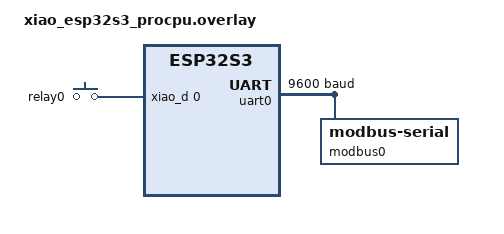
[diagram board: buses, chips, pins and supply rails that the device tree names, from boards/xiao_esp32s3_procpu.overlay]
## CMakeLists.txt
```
# SPDX-License-Identifier: Apache-2.0

cmake_minimum_required(VERSION 3.20.0)

set(SHIELD seeed_b2b_sx1262)

find_package(Zephyr REQUIRED HINTS $ENV{ZEPHYR_BASE})
project(lora_relay)

FILE(GLOB app_sources src/*.c)
FILE(GLOB common_sources ../common/src/*.c)
FILE(GLOB common_board_sources ../common/src/esp32s3/*.c)
target_sources(app PRIVATE ${app_sources} ${common_sources} ${common_board_sources})
target_include_directories(app PRIVATE ../common/src)

target_sources(app PRIVATE
        ${ZEPHYR_HAL_ESPRESSIF_MODULE_DIR}/components/hal/hmac_hal.c
        ${ZEPHYR_HAL_ESPRESSIF_MODULE_DIR}/components/hal/aes_hal.c
        ${ZEPHYR_HAL_ESPRESSIF_MODULE_DIR}/components/efuse/src/efuse_controller/keys/with_key_purposes/esp_efuse_api_key.c
        ${ZEPHYR_HAL_ESPRESSIF_MODULE_DIR}/components/efuse/src/esp_efuse_api.c
        ${ZEPHYR_HAL_ESPRESSIF_MODULE_DIR}/components/efuse/src/esp_efuse_utility.c
        ${ZEPHYR_HAL_ESPRESSIF_MODULE_DIR}/components/efuse/${CONFIG_SOC_SERIES}/esp_efuse_utility.c
        ${ZEPHYR_HAL_ESPRESSIF_MODULE_DIR}/components/efuse/${CONFIG_SOC_SERIES}/esp_efuse_table.c
)

# The EUI code pokes lorawan internals
set(ZEPHYR_CURRENT_LIBRARY loramac-node)
FILE(GLOB lm_sources ../common/lorawan/*.c)
zephyr_library_sources(${lm_sources})
zephyr_include_directories(${ZEPHYR_BASE}/subsys/lorawan)
```

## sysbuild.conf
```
# Sysbuild configuration file.

# Enable MCUboot per default for this sample.
SB_CONFIG_BOOTLOADER_MCUBOOT=y

# Several options in both MCUboot and Zephyr are controlled exclusively from here:
# See zephyr/share/sysbuild/image_configurations/BOOTLOADER_image_default.cmake
SB_CONFIG_MCUBOOT_MODE_OVERWRITE_ONLY=y
SB_CONFIG_BOOT_SIGNATURE_TYPE_NONE=y
```

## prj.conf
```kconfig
# General Zephyr settings
CONFIG_MAIN_STACK_SIZE=2048
CONFIG_SYSTEM_WORKQUEUE_STACK_SIZE=4096
CONFIG_STACK_SENTINEL=y
CONFIG_THREAD_NAME=y
CONFIG_LOG=y
CONFIG_LOG_THREAD_ID_PREFIX=y
CONFIG_LOG_PROCESS_THREAD_STACK_SIZE=4096
CONFIG_LOG_BUFFER_SIZE=8192
CONFIG_LOG_PROCESS_THREAD_SLEEP_MS=200
CONFIG_LOG_SPEED=y

# LoRa PHY
CONFIG_LORA=y
#CONFIG_LORA_LOG_LEVEL_DBG=y

# NVS required to store LoRaWAN DevNonce
CONFIG_NVS=y
#CONFIG_NVS_LOG_LEVEL_DBG=y
CONFIG_SETTINGS=y
CONFIG_SETTINGS_DYNAMIC_HANDLERS=n
#CONFIG_SETTINGS_LOG_LEVEL_DBG=y
# The NVS settings implementation is braindead without this
CONFIG_SETTINGS_NVS_NAME_CACHE=y
# Sector size is 4kB
CONFIG_SETTINGS_NVS_SECTOR_SIZE_MULT=1
CONFIG_SETTINGS_NVS_SECTOR_COUNT=8

# Random number generator required for several LoRaWAN services
CONFIG_ENTROPY_GENERATOR=y

# LoRaWAN application layer
CONFIG_LORAWAN=y
CONFIG_LORAMAC_REGION_US915=y
CONFIG_LORAWAN_NVM_SETTINGS=y
#CONFIG_LORAWAN_LOG_LEVEL_DBG=y

# LoRaWAN services required for FUOTA
CONFIG_LORAWAN_SERVICES=y
CONFIG_LORAWAN_SERVICES_LOG_LEVEL_DBG=y
CONFIG_LORAWAN_SERVICES_MAX_UPLINK_SIZE=36
CONFIG_LORAWAN_APP_CLOCK_SYNC=y
CONFIG_LORAWAN_REMOTE_MULTICAST=y
CONFIG_LORAWAN_FRAG_TRANSPORT=y

# use fixed frag size (min and max 232 bytes) to avoid RAM overflow
CONFIG_LORAWAN_FRAG_TRANSPORT_MIN_FRAG_SIZE=232
# alternatively, the redundancy could be reduced
CONFIG_LORAWAN_FRAG_TRANSPORT_MAX_REDUNDANCY=4
CONFIG_LORAWAN_FRAG_TRANSPORT_DECODER_LOWMEM=y

# auto-reboot
CONFIG_REBOOT=y

# Use Semtech soft secure element implementation until we port PSA
CONFIG_HAS_SEMTECH_SOFT_SE=y

# Flash driver to store firmware image
CONFIG_FLASH=y
CONFIG_FLASH_MAP=y
CONFIG_FLASH_PAGE_LAYOUT=y
CONFIG_STREAM_FLASH=y
CONFIG_IMG_MANAGER=y

# hwinfo for unique ID
CONFIG_HWINFO=y

# ESP32S3 appears to use a real serial port for CDC/ACM
CONFIG_SERIAL=y
# and it needs to be efficient
CONFIG_UART_INTERRUPT_DRIVEN=y
CONFIG_CONSOLE=y
CONFIG_UART_CONSOLE=y

CONFIG_MODBUS=y
CONFIG_MODBUS_ROLE_CLIENT=y
CONFIG_MODBUS_SERIAL=y
#CONFIG_MODBUS_LOG_LEVEL_DBG=y
# Note that this does *not* apply to the USB serial driver
#CONFIG_UART_LOG_LEVEL_DBG=y
# The modbus driver doesn't handle larger RX sizes well
CONFIG_UART_ESP32_RX_FIFO_THRESH=1

# Scheduling functionality
CONFIG_RTC=y
# App configuration
CONFIG_LORAWAN_PORT_RELAY_BASE=0x80
CONFIG_ENTRANCE_HAS_AUTO_CLOSE=y
CONFIG_ENTRANCE_AUTO_CLOSE_INTERVAL=90

# Power management
#CONFIG_PM=y
#CONFIG_PM_DEVICE=y

# Debugging
CONFIG_DEBUG=y
CONFIG_DEBUG_THREAD_INFO=y
CONFIG_OUTPUT_SYMBOLS=y
CONFIG_THREAD_ANALYZER=y
```

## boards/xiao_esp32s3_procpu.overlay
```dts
#include <dt-bindings/pinctrl/esp32s3-pinctrl.h>

/ {
	aliases {
		relay0 = &relay_btn;
	};

	buttons {
		compatible = "gpio-keys";

		relay_btn: button_0 {
			gpios = <&xiao_d 0 (GPIO_ACTIVE_HIGH | GPIO_PUSH_PULL)>;
			label = "relay0";
		};
	};
};

&uart0 {
	status = "okay";
	current-speed = <9600>;
	pinctrl-0 = <&uart0_default>;
	pinctrl-names = "default";

	modbus0 {
		compatible = "zephyr,modbus-serial";
		status = "okay";
        };
};
```

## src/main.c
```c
/*
 * LoRaWAN FUOTA sample application
 *
 * Copyright (c) 2022-2024 Libre Solar Technologies GmbH
 * Copyright (c) 2022-2024 tado GmbH
 *
 * SPDX-License-Identifier: Apache-2.0
 */

#include <zephyr/device.h>
#include <zephyr/kernel.h>
#include <zephyr/logging/log.h>
#include <zephyr/drivers/lora.h>
#include <zephyr/lorawan/lorawan.h>

#include "app.h"
#include "fuota.h"
#include "relay.h"
#include "renogy.h"

LOG_MODULE_REGISTER(main, CONFIG_LORAWAN_SERVICES_LOG_LEVEL);

static const struct device *lora_dev = DEVICE_DT_GET(DT_ALIAS(lora0));

static uint8_t battery_cb(void) {
	return 0; /* A value of 0 indicates external power */
}

int lora_init(void) {
	if (!device_is_ready(lora_dev)) {
		LOG_ERR("%s: device not ready.", lora_dev->name);
		return -ENODEV;
	}

	lorawan_register_battery_level_callback(battery_cb);

        return 0;
}

uint8_t remote_msg[8] = {0};

int main(void)
{
	int ret;

	ret = lora_init();
	if (ret != 0) {
		LOG_ERR("Failed to initialize LoRa");
		goto err;
	}

	LOG_INF("Looking for charger");
	k_msleep(500);

	/* TODO: save address in settings */
	charger_present = 0;
	ret = init_charger();
	if (ret == 0) {
		charger_present = 1;
	} else {
		LOG_ERR("Failed to find charger");
	}

	fuota_run();

	/* Wait for datarate change */
	wait_for_datarate(LORAWAN_DR_2);
	report_version();

	lorawan_relay_run();

	charger_xmit_cfg();

	while (1) {
		charger_xmit_cur();
		k_sleep(K_MINUTES(5));
	}

err:
	return 0;
}
```

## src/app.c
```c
#include <zephyr/device.h>
#include <zephyr/kernel.h>
#include <zephyr/logging/log.h>
#include <zephyr/drivers/lora.h>
#include <zephyr/lorawan/lorawan.h>

#include "app_protocol.h"
#include "renogy.h"
#include "relay.h"

LOG_MODULE_REGISTER(app, CONFIG_LORAWAN_SERVICES_LOG_LEVEL);

uint8_t charger_present;

/* TODO: refactor as periodic lorawan service */
int charger_xmit_cfg(void) {
	int ret;
	uint8_t buf[256];

	if (!charger_present) {
		return 0;
	}

	ret = charger_get_system((struct renogy_sys_t *)buf);
	if (ret != 0) {
		LOG_ERR("Failed to get charger system data");
		return ret;
	} else {
		ret = lorawan_send(LORAWAN_PORT_CHARGER_SYS, buf, sizeof(struct renogy_sys_t), LORAWAN_MSG_UNCONFIRMED);
		if (ret < 0) {
			LOG_ERR("lorawan_send failure: %d", ret);
			return ret;
		}
	}

	ret = charger_get_bat_info((struct renogy_param_bat_t *)buf);
	if (ret != 0) {
		LOG_ERR("Failed to get charger battery data");
		return ret;
	} else {
		ret = lorawan_send(LORAWAN_PORT_CHARGER_BAT_PARAM, buf, sizeof(struct renogy_param_bat_t), LORAWAN_MSG_UNCONFIRMED);
		if (ret < 0) {
			LOG_ERR("lorawan_send failure: %d", ret);
			return ret;
		}
	}

	return 0;
}

int charger_xmit_cur(void) {
	int ret;
	uint8_t buf[256];

	if (!charger_present) {
		return 0;
	}

	ret = charger_get_state((struct renogy_dyn_status_t *)buf);
	if (ret != 0) {
		LOG_ERR("Failed to get charger state");
		return ret;
	} else {
		LOG_INF("Transmitting dyn status");
		ret = lorawan_send(LORAWAN_PORT_CHARGER_DYN_STATUS, buf, sizeof(struct renogy_dyn_status_t), LORAWAN_MSG_UNCONFIRMED);
		if (ret < 0) {
			LOG_ERR("lorawan_send failure: %d", ret);
			return ret;
		}
	}

	ret = charger_get_cur_stats((struct renogy_dyn_statistics_t *)buf);
	if (ret != 0) {
		LOG_ERR("Failed to get charger stats");
		return ret;
	} else {
		LOG_INF("Transmitting charger stats");
		ret = lorawan_send(LORAWAN_PORT_CHARGER_STATS, buf, sizeof(struct renogy_dyn_statistics_t), LORAWAN_MSG_UNCONFIRMED);
		if (ret < 0) {
			LOG_ERR("lorawan_send failure: %d", ret);
			return ret;
		}
	}

	return 0;
}
```

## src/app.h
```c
#ifndef __APP_H__
#define __APP_H__

#include <stdint.h>

extern uint8_t charger_present;

int charger_xmit_cfg(void);
int charger_xmit_cur(void);
int fuota_run(void);

#endif /* __APP_H__ */
```

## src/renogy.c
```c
#include <zephyr/kernel.h>
#include <zephyr/sys/util.h>
#include <zephyr/modbus/modbus.h>

#include <zephyr/logging/log.h>

#include "renogy.h"

LOG_MODULE_REGISTER(renogy, LOG_LEVEL_INF);

static int client_iface;
static uint8_t client_addr;

const static struct modbus_iface_param client_param = {
	.mode = MODBUS_MODE_RTU,
	.rx_timeout = 100000,
	.serial = {
		.baud = 9600,
		.parity = UART_CFG_PARITY_NONE,
		.stop_bits_client = UART_CFG_STOP_BITS_1,
	},
};

#define MODBUS_NODE DT_COMPAT_GET_ANY_STATUS_OKAY(zephyr_modbus_serial)

static int find_client(void) {
        int ret;
        uint16_t buf;
        uint8_t i=1;

        ret = modbus_read_holding_regs(client_iface, i, REN_SYS_DEV_ADDR, &buf, 1);
        LOG_INF("Addr %02x ret %d", i, ret);

        if (ret == 0) {
                LOG_INF("Device responded at %02x with addr %04x", i, buf);
                return i;
        }

        /* Device not found */
        return -ENOENT;
}

int charger_get_system(struct renogy_sys_t *buf) {
        return modbus_read_holding_regs(client_iface, client_addr, REN_SYS_CHARGE_RATING, (uint16_t *)buf, sizeof(struct renogy_sys_t)/2);
}

int charger_get_cur_stats(struct renogy_dyn_statistics_t *buf) {
        return modbus_read_holding_regs(client_iface, client_addr, REN_DYN_STAT_SOC, (uint16_t *)buf, sizeof(struct renogy_dyn_statistics_t)/2);
}

int charger_get_daily_stats(struct renogy_dyn_daily_t *buf) {
        return modbus_read_holding_regs(client_iface, client_addr, REN_DYN_DAILY_MIN_V, (uint16_t *)buf, sizeof(struct renogy_dyn_daily_t)/2);
}

int charger_get_hist_stats(struct renogy_dyn_hist_t *buf) {
        return modbus_read_holding_regs(client_iface, client_addr, REN_DYN_HIST_TOTAL_OP_DAYS, (uint16_t *)buf, sizeof(struct renogy_dyn_hist_t)/2);
}

int charger_get_state(struct renogy_dyn_status_t *buf) {
        return modbus_read_holding_regs(client_iface, client_addr, REN_DYN_STATUS, (uint16_t *)buf, sizeof(struct renogy_dyn_status_t)/2);
}

int charger_get_bat_info(struct renogy_param_bat_t *buf) {
        return modbus_read_holding_regs(client_iface, client_addr, REN_PARAM_NOM_CAPACITY, (uint16_t *)buf, sizeof(struct renogy_param_bat_t)/2);
}

int init_charger(void) {
        int ret;
	const char *iface_name = DEVICE_DT_NAME(MODBUS_NODE);

	client_iface = modbus_iface_get_by_name(iface_name);

	ret = modbus_init_client(client_iface, client_param);
        if (ret < 0) {
                LOG_ERR("Could not init modbus client: %d\n", ret);
                return ret;
        }

        k_msleep(100);

        ret = find_client();
        if (ret < 0) {
                LOG_ERR("Could not detect device");
                return ret;
        }
        client_addr = (uint16_t)ret;

        return 0;
}
```

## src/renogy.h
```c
#ifndef __RENOGY_H__
#define __RENOGY_H__

#include "renogy_internal.h"

int init_charger(void);

int charger_get_system(struct renogy_sys_t *buf);
int charger_get_cur_stats(struct renogy_dyn_statistics_t *buf);
int charger_get_daily_stats(struct renogy_dyn_daily_t *buf);
int charger_get_hist_stats(struct renogy_dyn_hist_t *buf);
int charger_get_state(struct renogy_dyn_status_t *buf);
int charger_get_bat_info(struct renogy_param_bat_t *buf);

#endif /* __RENOGY_H__ */
```

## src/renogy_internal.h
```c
#ifndef __RENOGY_INTERNAL_H__
#define __RENOGY_INTERNAL_H__

#include <stdint.h>

/* See e.g. https://www.going-flying.com/blog/files/141/ROVER_MODBUS.pdf */

#define REN_SYS_CHARGE_RATING           0x0A
#define REN_SYS_DISCHARGE_RATING        0x0B
#define REN_SYS_MODEL                   0x0C
#define REN_SYS_SW_VER                  0x14
#define REN_SYS_HW_VER                  0x16
#define REN_SYS_SERIAL                  0x18
#define REN_SYS_DEV_ADDR                0x1A

struct renogy_sys_t {
        /* TODO: endianness */
        uint8_t max_charge_i;
        uint8_t nom_v;
        uint8_t prod_type;
        uint8_t max_discharge_i;
        char model[16];
        uint32_t sw_version;
        uint32_t hw_version;
        uint32_t serial;
        uint16_t addr;
};

#define REN_DYN_STAT_SOC                0x100

struct renogy_dyn_statistics_t {
        uint16_t soc_pct;
        uint16_t bat_dV;
        uint16_t charge_cA;
        uint8_t bat_temp_C;
        uint8_t controller_temp_C;

        uint16_t load_dV;
        uint16_t load_cA;
        uint16_t load_W;

        uint16_t solar_dV;
        uint16_t solar_cA;
        uint16_t solar_W;
};

#define REN_DYN_DAILY_MIN_V             0x10B

/**
 * Daily totals
 */
struct renogy_dyn_daily_t {
        uint16_t min_bat_dV;
        uint16_t max_bat_dV;
        uint16_t max_charge_cA;
        uint16_t max_discharge_cA;
        uint16_t max_charge_W;
        uint16_t max_discharge_W;

        /* Total for current day */
        uint16_t charge_Ah;
        uint16_t discharge_Ah;
        uint16_t generation_dWh; /* kWh/10k */
        uint16_t consumption_dWh;
};

#define REN_DYN_HIST_TOTAL_OP_DAYS      0x115

/**
 * Cumulative totals
 */
struct renogy_dyn_hist_t {
        uint16_t op_days;
        uint16_t over_discharge_cnt;
        uint16_t full_charge_cnt;

        uint32_t charge_Ah;
        uint32_t discharge_Ah;
        uint32_t generation_dWh; /* kWh/10k */
        uint32_t consumption_dWh;
};

#define REN_DYN_STATUS                  0x120

enum renogy_charge_state_t {
        REN_CHARGE_DEACTIVATED = 0,
        REN_CHARGE_ACTIVATED,
        REN_CHARGE_MPPT,
        REN_CHARGE_EQUALIZING,
        REN_CHARGE_BOOST,
        REN_CHARGE_FLOAT,
        REN_CHARGE_OVERPOWER,
};

struct renogy_dyn_status_t {
        uint8_t charge_state;
        uint8_t load_status;
};

#define REN_DYN_FAULT_STATE             0x121

#define REN_PARAM_NOM_CAPACITY          0xE002

enum renogy_battery_type_t {
        REN_BAT_OPEN,
        REN_BAT_FLOODED,
        REN_BAT_SEALED,
        REN_BAT_GEL,
        REN_BAT_LITHIUM,
        REN_BAT_CUSTOM,
};

// Unused values seem to default to 14.2V
// 120

// Lithium?
// 1212 200  160  4
// 0c0c c800 a000 0400
//      solar_ov?,hv_disconnect,type
// 14.2 15.5 14.2 14.2 12.5 13.2 11.0 12.0
// 8e00 9b00 8e00 8e00 7d00 8400 6e00 7800
// boost v,ev reconn,float,eq v,lv reconn?,boost return,overdisch recover?,?
// 3264
// 10.8 120       30   120
// 6c00 7800 0500 1e00 7800
// disch lim,eq dur?,eq interval d,ov disch delay?,?

// Sealed:
// 0cff c800 a000 0200
// 14.6 15.5 13.8 14.6 12.6 13.2 11.1 12.0
// 9200 9b00 8a00 9200 7e00 8400 6f00 7800
// 3264
// 10.6 0    5    0    120
// 6a00 0000 0500 0000 7800

// Gel:
// 0cff c800 a000 0300
// 15.2 15.5 13.8 14.2 12.6 13.2 11.1 12.0
// 9800 9b00 8a00 8e00 7e00 8400 6f00 7800
// 3264
// 10.6 0    5    0    120
// 6a00 0000 0500 0000 7800

// Flooded:
// 0cff c800 a000 0100
// 14.8 15.5 13.8 14.6 12.6 13.2 11.1 12.0
// 9400 9b00 8a00 9200 7e00 8400 6f00 7800
// 3264
// 6a00 7800 0500 1e00 7800

/* This struct likely has errors */
struct renogy_param_bat_t {
        uint8_t nom_bat_V;
        uint8_t act_bat_V;

        uint16_t solar_overvolt_dV;
        uint16_t charge_lim_dV;

        uint16_t bat_type;

        /* The boost voltage shouldn't be higher than the
         * equalization voltage so something is likely wrong here.
         * This is more likely some battery limit disconnect voltage
         * but the boost voltage in the datasheet appears to be missing.
         */
        uint16_t boost_dV;
        uint16_t overvolt_recov_dV;
        uint16_t float_dV;
        uint16_t equalizing_dV;
        uint16_t over_disch_recov_dV;
        uint16_t boost_recov_dV;
        uint16_t over_disch_dV;
        /* "under-voltage threshold" */
        uint16_t undervolt_warn_dV;

        uint8_t end_discharge_soc;
        uint8_t end_charge_soc;

        uint16_t over_disch_lim_dV;
        uint16_t eq_charge_s;
        uint16_t over_disch_delay_s;
        uint16_t eq_charge_interval_d;
        uint16_t boost_charge_s;
};

#endif /* __RENOGY_INTERNAL_H__ */
```
